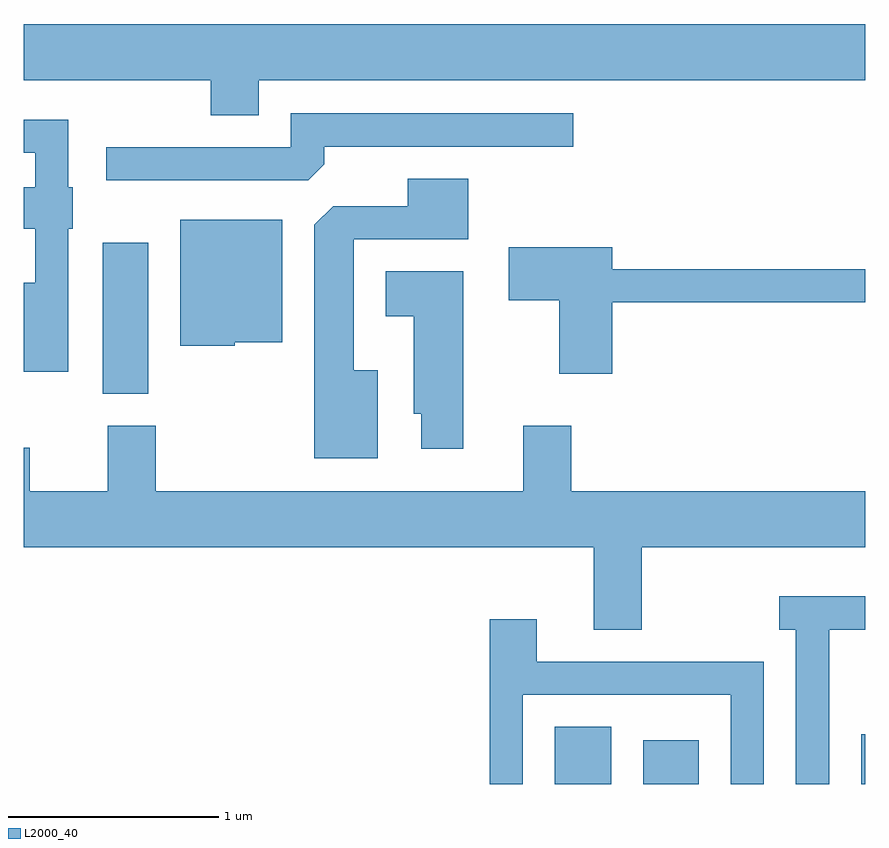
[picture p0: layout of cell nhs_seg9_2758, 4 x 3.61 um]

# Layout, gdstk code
import gdstk
lib = gdstk.Library(unit=1e-6, precision=1e-09)
def R(c, l, rs):  # rectangles x0, y0, x1, y1
    for r in rs: c.add(gdstk.rectangle(r[:2], r[2:], *l))
def P(c, l, *ps):  # polygons
    for p in ps: c.add(gdstk.Polygon(p, *l))
L2000_40 = (2000, 40)

nhs_seg9_2758 = lib.new_cell('nhs_seg9_2758')
R(nhs_seg9_2758, L2000_40, [(268.136,2028.432,268.404,2028.704), (268.556,2028.432,268.819,2028.639), (269.591,2028.432,269.611,2028.669), (265.986,2030.286,266.204,2031.004)])
P(nhs_seg9_2758, L2000_40, [(266.729,2031.776),(269.611,2031.776),(269.611,2032.044),(265.611,2032.044),(265.611,2031.776),(266.501,2031.776),(266.501,2031.611),(266.729,2031.611)],
  [(267.039,2031.377),(267.039,2031.461),(268.223,2031.461),(268.223,2031.619),(266.881,2031.619),(266.881,2031.459),(266.003,2031.459),(266.003,2031.301),(266.964,2031.301)],
  [(265.824,2031.071),(265.844,2031.071),(265.844,2031.269),(265.824,2031.269),(265.824,2031.589),(265.611,2031.589),(265.611,2031.431),(265.666,2031.431),(265.666,2031.269),(265.611,2031.269),(265.611,2031.071),(265.666,2031.071),(265.666,2030.814),(265.611,2030.814),(265.611,2030.391),(265.824,2030.391)],
  [(267.294,2030.399),(267.179,2030.399),(267.179,2031.021),(267.724,2031.021),(267.724,2031.309),(267.436,2031.309),(267.436,2031.179),(267.082,2031.179),(266.991,2031.089),(266.991,2029.981),(267.294,2029.981)],
  [(266.615,2030.531),(266.839,2030.531),(266.839,2031.114),(266.356,2031.114),(266.356,2030.516),(266.615,2030.516)],
  [(268.409,2030.721),(269.611,2030.721),(269.611,2030.879),(268.409,2030.879),(268.409,2030.984),(267.916,2030.984),(267.916,2030.731),(268.156,2030.731),(268.156,2030.381),(268.409,2030.381)],
  [(267.699,2030.869),(267.331,2030.869),(267.331,2030.656),(267.466,2030.656),(267.466,2030.191),(267.501,2030.191),(267.501,2030.026),(267.699,2030.026)],
  [(268.549,2029.556),(269.611,2029.556),(269.611,2029.824),(268.214,2029.824),(268.214,2030.134),(267.986,2030.134),(267.986,2029.824),(266.239,2029.824),(266.239,2030.134),(266.011,2030.134),(266.011,2029.824),(265.639,2029.824),(265.639,2030.029),(265.611,2030.029),(265.611,2029.556),(268.321,2029.556),(268.321,2029.166),(268.549,2029.166)],
  [(269.439,2029.166),(269.611,2029.166),(269.611,2029.324),(269.203,2029.324),(269.203,2029.166),(269.281,2029.166),(269.281,2028.432),(269.439,2028.432)],
  [(267.984,2028.856),(268.971,2028.856),(268.971,2028.432),(269.129,2028.432),(269.129,2029.014),(268.049,2029.014),(268.049,2029.214),(267.826,2029.214),(267.826,2028.432),(267.984,2028.432)])

lib.write_gds('nhs_seg9_2758.gds')
